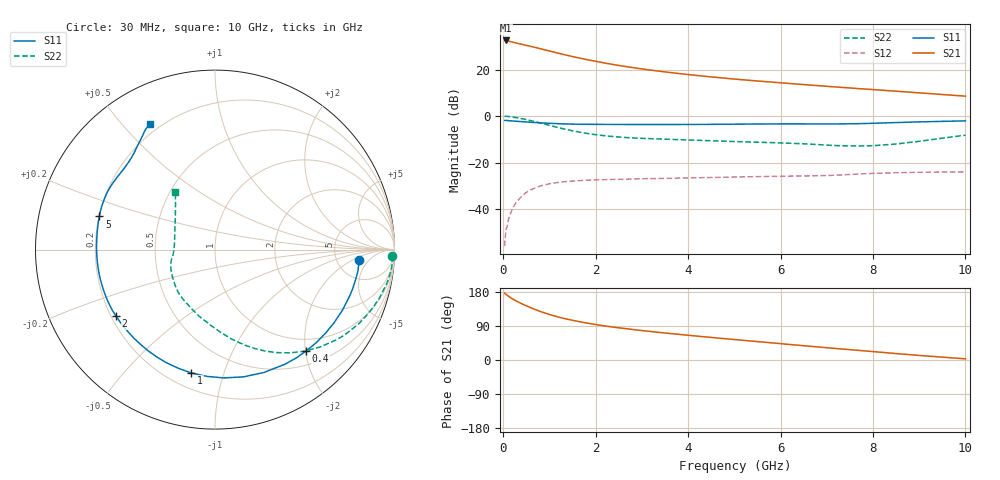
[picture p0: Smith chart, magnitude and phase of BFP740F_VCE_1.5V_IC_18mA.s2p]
! Infineon Technologies  Discrete & RF Semiconductors
! BFP740F
! VCE =  1.5 V,  IC =  18 mA
! Common Emitter S-Parameters:  Oct 2012
# GHz  S  MA  R  50
!  f  S11  S21  S12  S22
! GHz  MAG  ANG  MAG  ANG  MAG  ANG  MAG  ANG
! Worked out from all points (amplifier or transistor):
!   99 points, 30 MHz to 10 GHz, reference 50 ohm
!   highest |S21| = 32.5 dB at 50 MHz (marker M1)
!   |S21| within 3 dB of that: start of sweep to 689.2 MHz
!   unconditionally stable (mu >= 1): 5.973 GHz to end of sweep
!   at 350 MHz: K = 0.12, MSG = 33.3 dB, |S12| = -35.5 dB
!   at 3.5 GHz: K = 0.66, MSG = 22.9 dB, |S12| = -26.8 dB
!   at 10 GHz: K = 1.24, MAG = 13.3 dB, |S12| = -24.0 dB
!   S11 on the Smith chart (normalised r, x): 30 MHz: 8.46, -2.73; 400 MHz: 0.75, -2.00; 1 GHz: 0.29, -0.78; 2 GHz: 0.22, -0.29; 5 GHz: 0.20, +0.13; 10 GHz: 0.16, +0.60
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0.03  0.8067 -4.0  42.05 176.5  0.0016 98.5  0.9877 -2.1
0.05  0.8046 -6.6  42.23 174.5  0.0028 77.5  0.9902 -4.0
0.13  0.7958 -17.0  40.62 166.8  0.0068 81.1  0.9764 -10.8
0.2  0.786 -25.6  38.98 161.3  0.0102 78.1  0.9551 -16.3
0.3  0.7723 -37.1  36.87 154.6  0.0148 71.9  0.9205 -23.5
0.4  0.7593 -48.3  34.97 148.5  0.019 66.6  0.8811 -30.4
0.6  0.7367 -68.4  31.45 137.7  0.0261 57.0  0.7976 -42.9
0.7  0.7265 -77.4  29.72 132.8  0.0289 52.9  0.7555 -48.5
0.8  0.7167 -86.0  28.13 128.2  0.0314 49.1  0.7127 -53.8
1  0.6998 -100.8  25.07 120.1  0.035 43.0  0.6331 -63.4
1.3  0.6803 -118.5  21.16 110.2  0.0386 35.6  0.5333 -75.7
1.5  0.6716 -128.0  19.04 104.8  0.0401 32.3  0.4827 -82.8
1.7  0.6666 -136.2  17.25 99.9  0.0414 29.6  0.442 -89.3
2  0.6643 -146.2  15.05 93.7  0.0426 26.4  0.3987 -98.5
2.6  0.6603 -161.1  11.82 83.5  0.044 22.5  0.3494 -113.4
3.4  0.6591 -175.0  9.159 72.5  0.0457 19.8  0.3219 -126.8
4.1  0.6616 175.2  7.634 64.1  0.047 18.9  0.3042 -135.1
5  0.6706 164.0  6.255 54.0  0.0489 18.0  0.2839 -145.8
5.1  0.6722 162.9  6.131 52.9  0.0491 17.9  0.2819 -147.1
6.7  0.6781 144.9  4.595 35.6  0.052 17.3  0.2477 -167.5
8.5  0.7258 126.1  3.429 17.0  0.0607 15.5  0.251 152.9
10  0.7885 117.5  2.682 3.1  0.0632 10.9  0.3892 124.6
